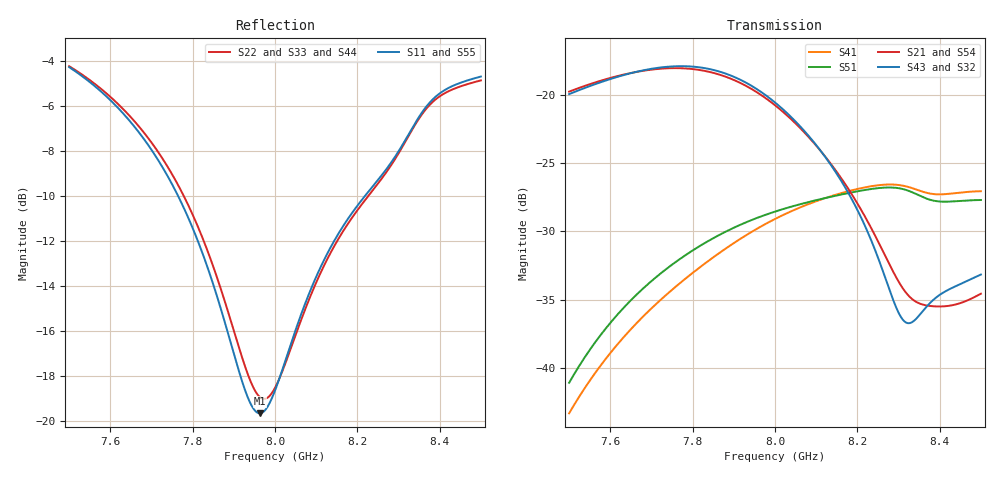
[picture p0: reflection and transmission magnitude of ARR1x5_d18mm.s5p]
! Touchstone file exported from HFSS 2025.1.0
!  File:  C:/Users/user/Documents/Ansoft/TFG_UWB-MIMO-Array.aedt
!  Generated:  02:04:21 PM Nov 20, 2026
!  Design:  ARR1x5_US3_PS6_dparam
!  Project:  TFG_UWB-MIMO-Array
!  Setup:  Setup_ch9
!  Solution:  Sweep_7p5_8p5
! Variables:
!  arr_d = 18mm
!  board_m = 13mm
!  board_x = 98mm
!  board_y = 26mm
!  cu_t = 0.035mm
!  line_w = 3.92mm
!  pad_xy = 22mm
!  pad_zn = 25mm
!  pad_zp = 33mm
!  par_L = 7.05mm
!  par_W = 11mm
!  par_yc = 0.615mm
!  par_z = 1.035mm
!  patch_L = 6.29mm
!  patch_W = 11.421266mm
!  sub_h = 2.07mm
!  tr_l = 6.6mm
!  tr_w = 0.8mm
!  u_Lu = 2.65mm
!  u_Wu = 4.4mm
!  u_t = 0.8mm
!  u_y0 = -0.7mm
# GHz S MA R 50.000000
! Terminal data exported
! Port[1] = P1
! Port[2] = P2
! Port[3] = P3
! Port[4] = P4
! Port[5] = P5
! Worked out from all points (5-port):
!   1001 points, 7.5 GHz to 8.5 GHz, reference 50 ohm
!   strongest paths, dB at 7.5 GHz, 7.75 GHz, 8 GHz, 8.25 GHz, 8.5 GHz:
!     S43: -19.9, -17.9, -20.6, -31.9, -33.2
!     S32: -20.0, -17.9, -20.6, -32.1, -33.1
!     S21: -19.8, -18.0, -20.8, -30.7, -34.6
!     S54: -19.7, -18.0, -20.8, -30.6, -34.5
!     S51: -41.1, -32.4, -28.6, -26.8, -27.7
!     S41: -43.3, -34.3, -29.1, -26.6, -27.1
!   lowest |S11| = -19.7 dB at 7.963 GHz (marker M1), VSWR 1.23, Z = 61.1 - j3.15 ohm
!   |S11| at or under -10 dB: 7.765 GHz to 8.218 GHz (453.6 MHz wide, 5.68 % of centre)
